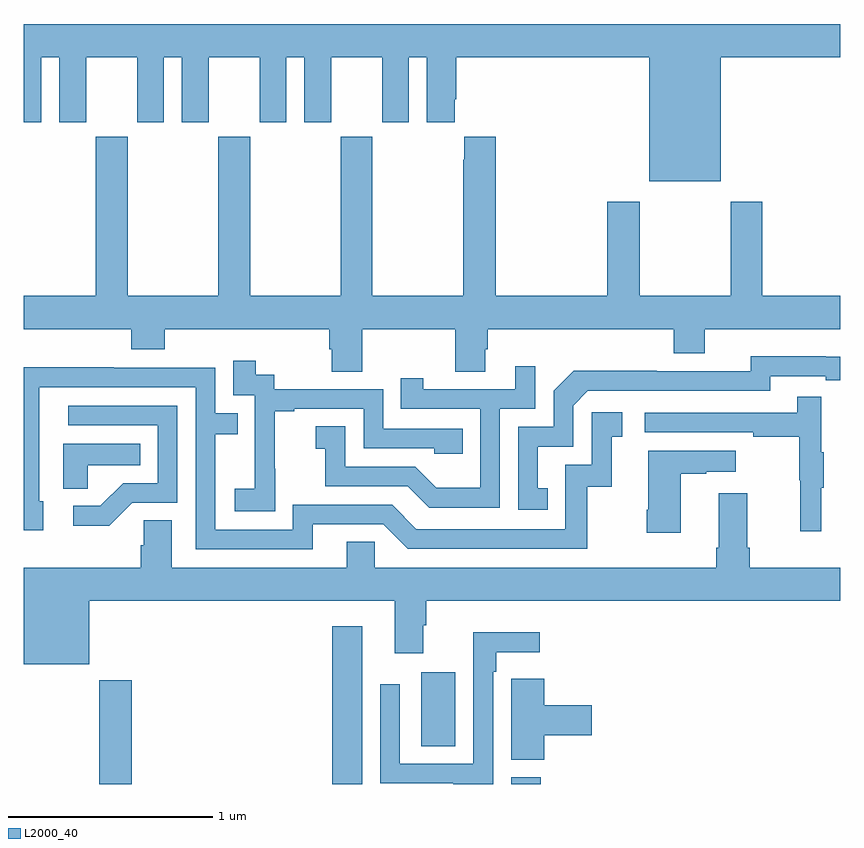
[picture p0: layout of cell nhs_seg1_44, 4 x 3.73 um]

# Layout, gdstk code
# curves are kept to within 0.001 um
import gdstk
lib = gdstk.Library(unit=1e-6, precision=1e-09)
def R(c, l, rs):  # rectangles x0, y0, x1, y1
    for r in rs: c.add(gdstk.rectangle(r[:2], r[2:], *l))
def P(c, l, *ps):  # polygons
    for p in ps: c.add(gdstk.Polygon(p, *l))
L2000_40 = (2000, 40)

nhs_seg1_44 = lib.new_cell('nhs_seg1_44')
R(nhs_seg1_44, L2000_40, [(113.368,520.199,113.528,520.708), (114.512,520.199,114.658,520.972), (115.388,520.199,115.532,520.233), (114.947,520.384,115.114,520.746)])
P(nhs_seg1_44, L2000_40, [(116.416,523.76),(117,523.76),(117,523.924),(113,523.924),(113,523.443),(113.086,523.443),(113.086,523.76),(113.174,523.76),(113.174,523.443),(113.305,523.443),(113.305,523.76),(113.555,523.76),(113.555,523.443),(113.686,523.443),(113.686,523.76),(113.774,523.76),(113.774,523.443),(113.905,523.443),(113.905,523.76),(114.155,523.76),(114.155,523.443),(114.286,523.443),(114.286,523.76),(114.374,523.76),(114.374,523.443),(114.505,523.443),(114.505,523.76),(114.755,523.76),(114.755,523.443),(114.886,523.443),(114.886,523.76),(114.974,523.76),(114.974,523.443),(115.111,523.443),(115.111,523.555),(115.118,523.555),(115.118,523.76),(116.066,523.76),(116.066,523.154),(116.416,523.154)],
  [(114.657,522.428),(115.114,522.428),(115.114,522.22),(115.261,522.22),(115.261,522.33),(115.274,522.33),(115.274,522.428),(116.186,522.428),(116.186,522.311),(116.338,522.311),(116.338,522.428),(117,522.428),(117,522.592),(116.619,522.592),(116.619,523.054),(116.464,523.054),(116.464,522.592),(116.019,522.592),(116.019,523.054),(115.859,523.054),(115.859,522.592),(115.313,522.592),(115.313,523.371),(115.157,523.371),(115.157,523.259),(115.153,523.259),(115.153,522.592),(114.708,522.592),(114.708,523.371),(114.553,523.371),(114.553,522.592),(114.108,522.592),(114.108,523.371),(113.953,523.371),(113.953,522.592),(113.508,522.592),(113.508,523.371),(113.353,523.371),(113.353,522.592),(113,522.592),(113,522.428),(113.525,522.428),(113.525,522.329),(113.69,522.329),(113.69,522.428),(114.497,522.428),(114.497,522.33),(114.509,522.33),(114.509,522.22),(114.657,522.22)],
  [(115.568,521.649),(115.519,521.649),(115.519,521.853),(115.692,521.853),(115.692,522.054),(115.764,522.126),(116.658,522.126),(116.658,522.198),(116.93,522.198),(116.93,522.178),(117,522.178),(117,522.294),(116.562,522.295),(116.562,522.222),(116.102,522.222),(116.102,522.224),(115.694,522.224),(115.596,522.126),(115.596,521.949),(115.422,521.949),(115.422,521.544),(115.568,521.544)],
  [(114.231,521.743),(114.23,521.743),(114.23,522.027),(114.325,522.027),(114.325,522.039),(114.666,522.039),(114.666,521.844),(115.011,521.844),(115.011,521.817),(115.151,521.817),(115.151,521.94),(114.762,521.94),(114.762,522.135),(114.228,522.135),(114.228,522.204),(114.136,522.204),(114.136,522.274),(114.027,522.274),(114.027,522.105),(114.132,522.105),(114.132,521.876),(114.131,521.876),(114.131,521.647),(114.033,521.647),(114.033,521.537),(114.231,521.537)],
  [(115.332,522.039),(115.506,522.039),(115.506,522.246),(115.409,522.246),(115.409,522.135),(114.958,522.135),(114.958,522.187),(114.847,522.187),(114.847,522.039),(115.236,522.039),(115.236,521.65),(115.022,521.65),(114.918,521.754),(114.576,521.754),(114.576,521.953),(114.429,521.953),(114.429,521.843),(114.478,521.843),(114.478,521.658),(114.881,521.658),(114.986,521.553),(115.332,521.553)],
  [(114.415,521.472),(114.762,521.472),(114.882,521.352),(115.762,521.352),(115.762,521.655),(115.88,521.655),(115.88,521.901),(115.933,521.901),(115.933,522.022),(115.782,522.022),(115.782,521.763),(115.653,521.763),(115.653,521.448),(114.924,521.448),(114.804,521.568),(114.318,521.568),(114.318,521.445),(113.937,521.445),(113.937,521.914),(114.047,521.914),(114.047,522.015),(113.937,522.015),(113.937,522.24),(113.441,522.24),(113.441,522.242),(113,522.242),(113,521.442),(113.095,521.442),(113.095,521.586),(113.076,521.586),(113.076,522.144),(113.841,522.144),(113.841,521.349),(114.415,521.349)],
  [(116.909,521.651),(116.92,521.651),(116.92,521.825),(116.909,521.825),(116.909,522.097),(116.791,522.097),(116.791,522.018),(116.043,522.018),(116.043,521.922),(116.575,521.922),(116.575,521.902),(116.799,521.902),(116.799,521.688),(116.806,521.688),(116.806,521.439),(116.909,521.439)],
  [(113.532,521.577),(113.751,521.577),(113.751,522.054),(113.217,522.054),(113.217,521.958),(113.655,521.958),(113.655,521.673),(113.486,521.673),(113.375,521.562),(113.241,521.562),(113.241,521.465),(113.419,521.465)],
  [(113.313,521.762),(113.57,521.762),(113.57,521.866),(113.192,521.866),(113.192,521.647),(113.313,521.647)],
  [(116.218,521.719),(116.345,521.719),(116.345,521.729),(116.488,521.729),(116.488,521.833),(116.06,521.833),(116.06,521.542),(116.053,521.542),(116.053,521.43),(116.218,521.43)],
  [(113.32,521.096),(114.818,521.096),(114.818,520.839),(114.958,520.839),(114.958,520.976),(114.971,520.976),(114.971,521.096),(117,521.096),(117,521.26),(116.558,521.26),(116.558,521.356),(116.545,521.356),(116.545,521.623),(116.405,521.623),(116.405,521.356),(116.393,521.356),(116.393,521.26),(114.72,521.26),(114.72,521.387),(114.581,521.387),(114.581,521.26),(113.725,521.26),(113.725,521.492),(113.586,521.492),(113.586,521.369),(113.573,521.369),(113.573,521.26),(113,521.26),(113,520.787),(113.32,520.787)],
  [(115.299,520.748),(115.315,520.748),(115.315,520.844),(115.528,520.844),(115.528,520.942),(115.203,520.942),(115.203,520.299),(114.843,520.299),(114.843,520.687),(114.747,520.687),(114.747,520.203),(115.103,520.203),(115.103,520.199),(115.299,520.199)],
  [(115.55,520.439),(115.783,520.439),(115.783,520.586),(115.55,520.586),(115.55,520.714),(115.389,520.714),(115.389,520.601),(115.388,520.601),(115.388,520.318),(115.55,520.318)])

lib.write_gds('nhs_seg1_44.gds')
